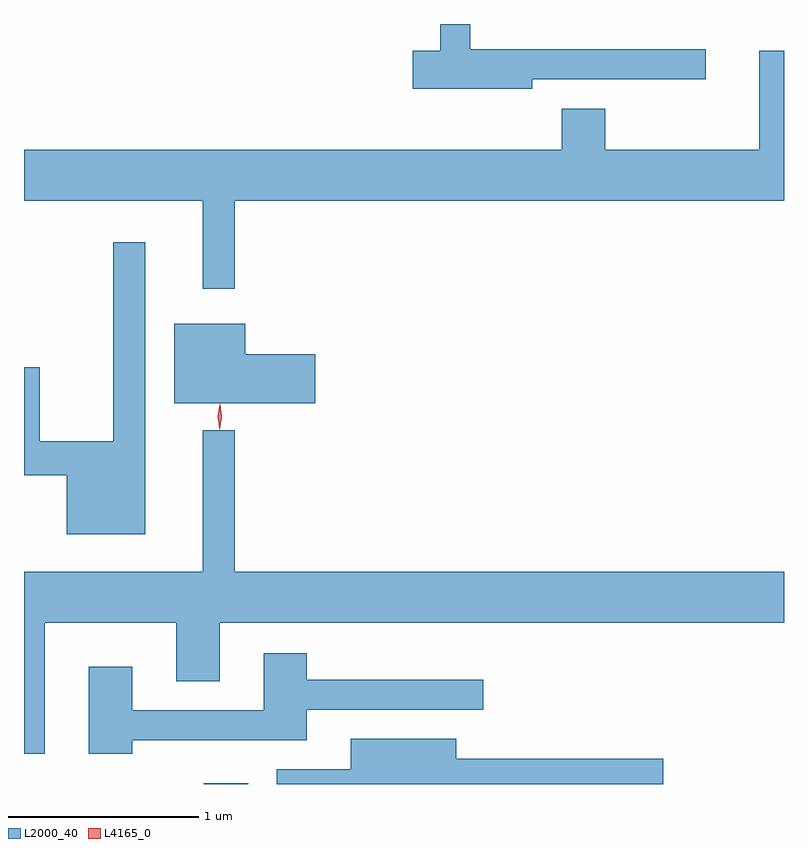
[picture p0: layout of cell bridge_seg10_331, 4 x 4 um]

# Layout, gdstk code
import gdstk
lib = gdstk.Library(unit=1e-6, precision=1e-09)
def R(c, l, rs):  # rectangles x0, y0, x1, y1
    for r in rs: c.add(gdstk.rectangle(r[:2], r[2:], *l))
def P(c, l, *ps):  # polygons
    for p in ps: c.add(gdstk.Polygon(p, *l))
L2000_40 = (2000, 40)
L4165_0 = (4165, 0)

bridge_seg10_331 = lib.new_cell('bridge_seg10_331')
R(bridge_seg10_331, L2000_40, [(1330.086,2153.026,1330.319,2153.029)])
P(bridge_seg10_331, L2000_40, [(1331.814,2156.736),(1332.728,2156.736),(1332.728,2156.894),(1331.489,2156.894),(1331.489,2157.026),(1331.331,2157.026),(1331.331,2156.884),(1331.186,2156.884),(1331.186,2156.686),(1331.814,2156.686)],
  [(1330.249,2156.096),(1333.14,2156.096),(1333.14,2156.884),(1333.011,2156.884),(1333.011,2156.364),(1332.199,2156.364),(1332.199,2156.579),(1331.971,2156.579),(1331.971,2156.364),(1329.14,2156.364),(1329.14,2156.096),(1330.081,2156.096),(1330.081,2155.633),(1330.249,2155.633)],
  [(1329.779,2155.878),(1329.611,2155.878),(1329.611,2154.829),(1329.224,2154.829),(1329.224,2155.219),(1329.14,2155.219),(1329.14,2154.651),(1329.366,2154.651),(1329.366,2154.341),(1329.779,2154.341)],
  [(1330.674,2155.289),(1330.304,2155.289),(1330.304,2155.449),(1329.931,2155.449),(1329.931,2155.031),(1330.674,2155.031)],
  [(1329.249,2153.876),(1329.941,2153.876),(1329.941,2153.566),(1330.169,2153.566),(1330.169,2153.876),(1333.14,2153.876),(1333.14,2154.144),(1330.249,2154.144),(1330.249,2154.888),(1330.081,2154.888),(1330.081,2154.144),(1329.14,2154.144),(1329.14,2153.186),(1329.249,2153.186)],
  [(1329.709,2153.256),(1330.629,2153.256),(1330.629,2153.416),(1331.558,2153.416),(1331.558,2153.574),(1330.629,2153.574),(1330.629,2153.714),(1330.401,2153.714),(1330.401,2153.414),(1329.709,2153.414),(1329.709,2153.644),(1329.481,2153.644),(1329.481,2153.186),(1329.709,2153.186)],
  [(1332.504,2153.159),(1331.414,2153.159),(1331.414,2153.264),(1330.861,2153.264),(1330.861,2153.104),(1330.471,2153.104),(1330.471,2153.026),(1332.504,2153.026)])
P(bridge_seg10_331, L4165_0, [(1330.169,2154.89),(1330.161,2154.958),(1330.171,2155.026),(1330.171,2155.026),(1330.172,2155.026),(1330.181,2154.958),(1330.17,2154.89),(1330.17,2154.89)],
  [(1330.17,2154.893),(1330.169,2154.894),(1330.16,2154.956),(1330.169,2155.019),(1330.17,2155.02),(1330.17,2155.019),(1330.18,2154.956),(1330.17,2154.894)])

lib.write_gds('bridge_seg10_331.gds')
